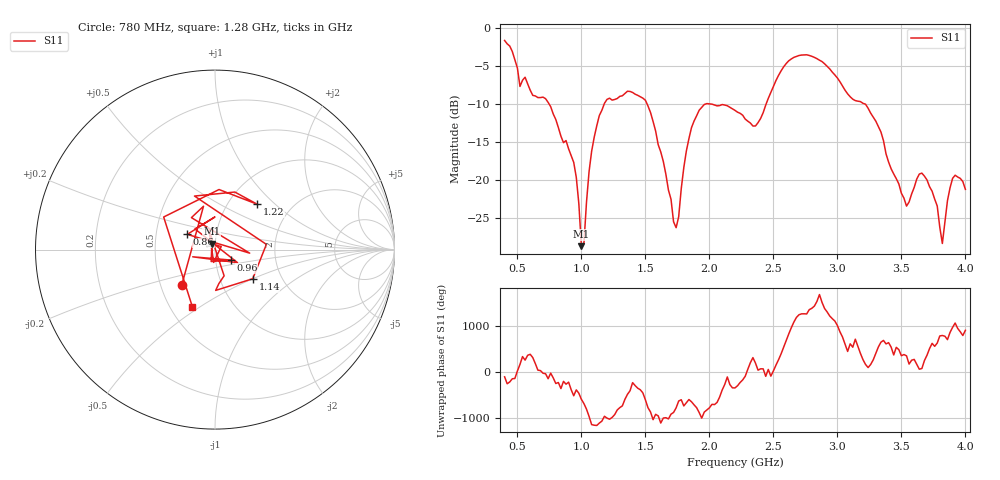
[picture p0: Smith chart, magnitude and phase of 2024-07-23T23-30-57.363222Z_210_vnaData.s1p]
!Created with skrf (http://scikit-rf.org).
# Hz S RI R 50.0
!freq ReS11 ImS11
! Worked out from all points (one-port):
!   181 points, 400 MHz to 4 GHz, reference 50 ohm
!   lowest |S11| = -28.7 dB at 1 GHz (marker M1), VSWR 1.08, Z = 48.2 + j3.11 ohm
!   |S11| at or under -10 dB: 1.513 GHz to 1.97 GHz (457 MHz wide, 26.2 % of centre); 2.011 GHz to 2.443 GHz (432 MHz wide, 19.4 % of centre); 3.216 GHz to end of sweep (the widest 3 of 4)
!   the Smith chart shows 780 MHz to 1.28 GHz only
!   S11 on the Smith chart (normalised r, x): 780 MHz: 0.64, -0.27; 860 MHz: 0.72, +0.13; 960 MHz: 1.18, -0.14; 1.14 GHz: 1.43, -0.50; 1.22 GHz: 1.36, +0.78; 1.28 GHz: 0.64, -0.47
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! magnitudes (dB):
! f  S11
! 400 MHz  -1.6
! 520 MHz  -7.7
! 780 MHz  -11.3
! 860 MHz  -15.1
! 960 MHz  -19.7
! 1 GHz  -28.7
! 1.02 GHz  -28.3
! 1.08 GHz  -16.2
! 1.14 GHz  -11.5
! 1.22 GHz  -9.2
! 1.28 GHz  -9.3
! 1.3 GHz  -9.0
! 1.5 GHz  -9.5
! 1.72 GHz  -25.5
! 1.76 GHz  -24.8
! 1.82 GHz  -16.2
! 1.92 GHz  -10.8
! 2.2 GHz  -10.8
! 2.36 GHz  -12.9
! 2.66 GHz  -3.9
! 3.1 GHz  -9.0
! 3.3 GHz  -12.3
! 3.56 GHz  -22.9
! 3.68 GHz  -19.5
! 3.78 GHz  -23.4
! 3.82 GHz  -28.3
! 3.9 GHz  -19.8
! 4 GHz  -21.2
